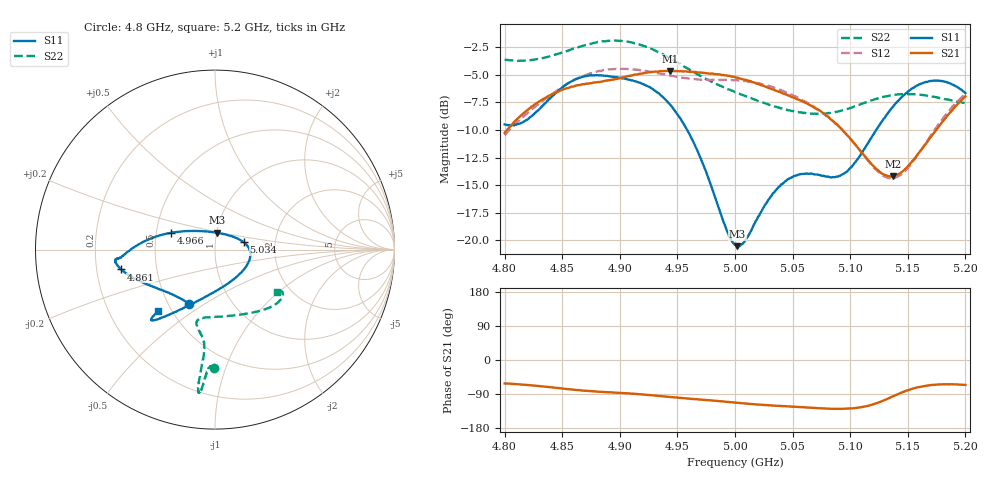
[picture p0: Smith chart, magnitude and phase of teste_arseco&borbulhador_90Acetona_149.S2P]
! Network Analyzer HP8722D
! Hewlett-Packard
! Data name: Linha & Wilkinson
! Saver's name: Rodrigo Anjos
! Comments: Teste da utilização de aquisição
! continua pelo VNA HP8722D
! Time and date: 17/4/2025 12:17
!  Frequency  S11  S21  S12  S22
# HZ  S  MA R 50
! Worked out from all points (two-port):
!   401 points, 4.8 GHz to 5.2 GHz, reference 50 ohm
!   highest |S21| = -4.65 dB at 4.944 GHz (marker M1); lowest = -14.2 dB at 5.137 GHz (marker M2)
!   |S21| within 3 dB of the highest: 4.827 GHz to 5.063 GHz (236.4 MHz wide, 4.78 % of centre); 5.193304 GHz to end of sweep
!   lowest |S11| = -20.5 dB at 5.002 GHz (marker M3), VSWR 1.21, Z = 50.3 + j9.48 ohm
!   |S11| at or under -10 dB: 4.958 GHz to 5.123 GHz (164.1 MHz wide, 3.26 % of centre)
!   |S22| runs from -8.5 to -1.9 dB; largest |S21 - S12| = 0.88
!   S11 on the Smith chart (normalised r, x): 4.8 GHz: 0.63, -0.43; 4.861 GHz: 0.31, -0.09; 4.966 GHz: 0.60, +0.12; 5.034 GHz: 1.37, +0.12; 5.2 GHz: 0.43, -0.37
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4.8e9  0.3349 -115.9  0.3064 -61.9  0.2999 -176.2  0.6577 -90.6
4.818e9  0.348 -135.1  0.3821 -65.4  0.3708 -175.3  0.6515 -92.4
4.861e9  0.5349 -168.1  0.5 -78.8  0.5326 -178.6  0.7397 -94.9
4.867e9  0.5485 -170.4  0.5089 -80.4  0.5508 -179.6  0.7577 -95.1
4.899e9  0.5443 -174.7  0.5409 -86.5  0.5971 174.0  0.8006 -96.5
4.934e9  0.4621 179.2  0.5811 -94.9  0.5711 170.6  0.7089 -96.8
4.944e9  0.4097 174.5  0.5854 -97.6  0.5564 170.7  0.6655 -96.6
4.966e9  0.2633 159.3  0.5783 -103.2  0.5366 172.7  0.57 -96.1
4.993e9  0.1105 114.3  0.5574 -110.4  0.532 174.8  0.4855 -98.7
5e9  0.09554 90.6  0.5486 -112.4  0.5316 175.0  0.4683 -100.1
5.002e9  0.09412 83.0  0.5457 -112.8  0.5299 175.0  0.4651 -100.6
5.009e9  0.1 59.3  0.5333 -114.7  0.5264 174.7  0.45 -102.1
5.034e9  0.165 14.3  0.4792 -120.5  0.4915 173.5  0.4041 -103.7
5.05e9  0.1936 -1.2  0.445 -123.3  0.4548 172.9  0.3853 -99.4
5.067e9  0.2002 -19.4  0.4043 -126.1  0.4069 172.5  0.3746 -89.6
5.096e9  0.2032 -70.2  0.3044 -128.7  0.305 174.5  0.3919 -67.0
5.121e9  0.306 -109.6  0.2145 -116.0  0.2122 -170.9  0.4346 -49.8
5.134e9  0.3841 -119.9  0.1949 -100.1  0.1909 -153.3  0.4516 -43.3
5.137e9  0.4015 -121.6  0.1947 -96.1  0.191 -148.4  0.4548 -42.0
5.15e9  0.4707 -127.2  0.2162 -79.9  0.2123 -129.6  0.4598 -37.4
5.17e9  0.5265 -131.6  0.2936 -66.2  0.2987 -112.5  0.4493 -32.8
5.2e9  0.464 -132.8  0.4486 -65.9  0.4597 -108.0  0.4174 -34.5
